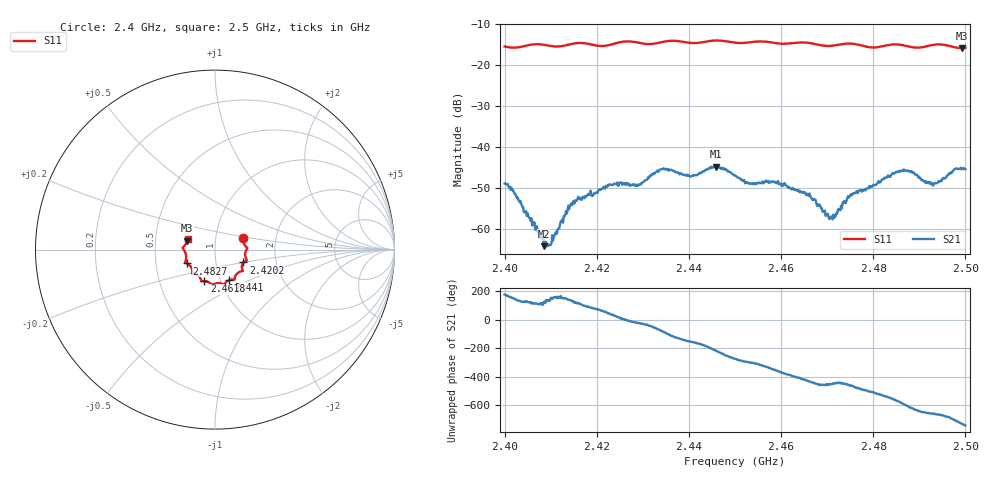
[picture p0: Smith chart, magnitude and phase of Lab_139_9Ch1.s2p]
# Hz S RI R 50
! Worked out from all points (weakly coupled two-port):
!   601 points, 2.4 GHz to 2.5 GHz, reference 50 ohm
!   highest |S21| = -44.80 dB at 2.4458 GHz (marker M1); lowest = -64.3 dB at 2.4085 GHz (marker M2)
!   lowest |S11| = -15.8 dB at 2.4992 GHz (marker M3), VSWR 1.39, Z = 36.4 + j3.67 ohm
!   |S11| at or under -10 dB: start of sweep to end of sweep
!   S12 and S22 are empty: the file has one direction only
!   S11 on the Smith chart (normalised r, x): 2.4 GHz: 1.36, +0.18; 2.4202 GHz: 1.36, -0.20; 2.441 GHz: 1.10, -0.39; 2.4618 GHz: 0.84, -0.30; 2.4827 GHz: 0.72, -0.12; 2.5 GHz: 0.73, +0.09
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2.4e9  0.1581 0.0629  -0.00357 0.000132  0 0  0 0
2.402e9  0.1596 0.0391  -0.00241 0.00142  0 0  0 0
2.4085e9  0.1782 0.00441  -0.000364 0.000491  0 0  0 0
2.409667e9  0.1733 -0.00333  -0.000424 0.000459  0 0  0 0
2.414333e9  0.1738 -0.0516  -0.00146 0.00136  0 0  0 0
2.416667e9  0.1775 -0.0607  -0.000716 0.00213  0 0  0 0
2.420167e9  0.1583 -0.0713  0.000767 0.00263  0 0  0 0
2.429167e9  0.144 -0.1211  0.00318 -0.0014  0 0  0 0
2.433333e9  0.1118 -0.151  0.00197 -0.00457  0 0  0 0
2.441e9  0.0784 -0.1697  -0.00418 -0.00172  0 0  0 0
2.445833e9  0.0504 -0.1949  -0.00463 0.00341  0 0  0 0
2.45e9  0.0284 -0.1872  0.000284 0.00448  0 0  0 0
2.461833e9  -0.0594 -0.1755  0.00282 -0.00145  0 0  0 0
2.466667e9  -0.0785 -0.1682  0.000461 -0.00227  0 0  0 0
2.471e9  -0.1043 -0.1384  -7.8e-05 -0.00141  0 0  0 0
2.475e9  -0.127 -0.1339  -0.00055 -0.00251  0 0  0 0
2.482667e9  -0.1562 -0.0774  -0.00421 -0.000247  0 0  0 0
2.483333e9  -0.1606 -0.0752  -0.00434 0.000386  0 0  0 0
2.487167e9  -0.1626 -0.0582  -0.00246 0.00447  0 0  0 0
2.493167e9  -0.1783 0.00522  0.0018 0.00307  0 0  0 0
2.499167e9  -0.1548 0.0491  0.00525 -0.000924  0 0  0 0
2.5e9  -0.1521 0.061  0.00495 -0.00199  0 0  0 0
